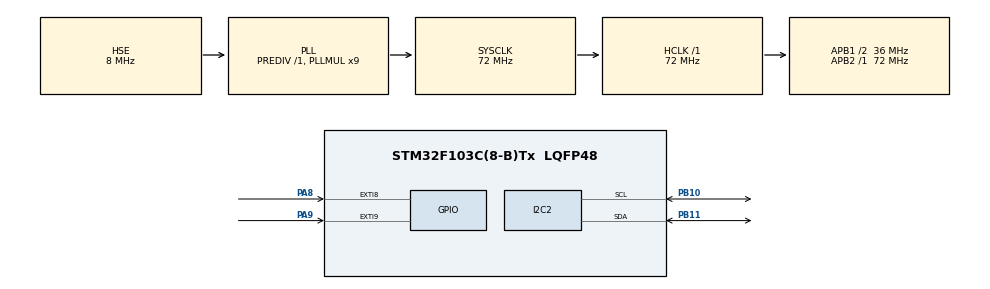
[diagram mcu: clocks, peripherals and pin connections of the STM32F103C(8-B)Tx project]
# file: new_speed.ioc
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I2C2.OwnAddress=20
Mcu.Family=STM32F1
Mcu.Name=STM32F103C(8-B)Tx
Mcu.Package=LQFP48
NVIC.EXTI9_5_IRQn=true\:0\:0\:false\:false\:true\:true\:true\:true
NVIC.I2C2_ER_IRQn=true\:0\:0\:false\:false\:true\:true\:true\:true
NVIC.I2C2_EV_IRQn=true\:0\:0\:false\:false\:true\:true\:true\:true
NVIC.PriorityGroup=NVIC_PRIORITYGROUP_4
NVIC.TIM1_BRK_IRQn=true\:0\:0\:false\:false\:true\:true\:true\:true
NVIC.TIM1_CC_IRQn=true\:0\:0\:false\:false\:true\:true\:true\:true
NVIC.TIM1_TRG_COM_IRQn=true\:0\:0\:false\:false\:true\:true\:true\:true
NVIC.TIM1_UP_IRQn=true\:0\:0\:false\:false\:true\:true\:true\:true
NVIC.TIM2_IRQn=true\:1\:0\:true\:false\:true\:true\:true\:true
PA13.Mode=Serial_Wire
PA13.Signal=SYS_JTMS-SWDIO
PA14.Mode=Serial_Wire
PA14.Signal=SYS_JTCK-SWCLK
PA8.GPIO_ModeDefaultEXTI=GPIO_MODE_IT_FALLING
PA8.GPIO_PuPd=GPIO_PULLUP
PA8.Signal=GPXTI8
PA9.GPIO_ModeDefaultEXTI=GPIO_MODE_IT_FALLING
PA9.GPIO_PuPd=GPIO_PULLUP
PA9.Signal=GPXTI9
PB10.Mode=I2C
PB10.Signal=I2C2_SCL
PB11.Mode=I2C
PB11.Signal=I2C2_SDA
PD0-OSC_IN.Mode=HSE-External-Oscillator
PD0-OSC_IN.Signal=RCC_OSC_IN
PD1-OSC_OUT.Mode=HSE-External-Oscillator
PD1-OSC_OUT.Signal=RCC_OSC_OUT
ProjectManager.HeapSize=0x200
ProjectManager.StackSize=0x400
ProjectManager.TargetToolchain=MDK-ARM V5.32
RCC.AHBFreq_Value=72000000
RCC.APB1CLKDivider=RCC_HCLK_DIV2
RCC.APB1Freq_Value=36000000
RCC.APB1TimFreq_Value=72000000
RCC.APB2Freq_Value=72000000
RCC.APB2TimFreq_Value=72000000
RCC.HCLKFreq_Value=72000000
RCC.PLLMUL=RCC_PLL_MUL9
RCC.PLLSourceVirtual=RCC_PLLSOURCE_HSE
RCC.SYSCLKFreq_VALUE=72000000
RCC.SYSCLKSource=RCC_SYSCLKSOURCE_PLLCLK
RCC.USBFreq_Value=72000000
TIM1.AutoReloadPreload=TIM_AUTORELOAD_PRELOAD_ENABLE
TIM1.Period=100-1
TIM1.Prescaler=72-1
TIM2.AutoReloadPreload=TIM_AUTORELOAD_PRELOAD_ENABLE
TIM2.Period=1000-1
TIM2.Prescaler=72-1
VP_TIM1_VS_ClockSourceINT.Mode=Internal
VP_TIM2_VS_ClockSourceINT.Mode=Internal
board=custom

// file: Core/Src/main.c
/* USER CODE BEGIN Header */
/**
  ******************************************************************************
  * @file           : main.c
  * @brief          : Main program body
  ******************************************************************************
  * @attention
  *
  * Copyright (c) 2023 STMicroelectronics.
  * All rights reserved.
  *
  * This software is licensed under terms that can be found in the LICENSE file
  * in the root directory of this software component.
  * If no LICENSE file comes with this software, it is provided AS-IS.
  *
  ******************************************************************************
  */
/* USER CODE END Header */
#include "main.h"
#include "i2c.h"
#include "tim.h"
#include "gpio.h"

/* USER CODE BEGIN Includes */
#include "oled.h"

/* USER CODE END Includes */

/* USER CODE BEGIN PTD */
#define right 0
#define left  1
/* USER CODE END PTD */

void SystemClock_Config(void);

/* USER CODE BEGIN 0 */
uint8_t I2C_recvBuf[10] = {0};
//uint8_t* I2C_sendBuf=NULL ;
uint8_t I2C_sendBuf[10]={0,1,2,3,4,5,6,7,8,9} ;

//static uint8_t I2C_recvBuf2[10]={0};
uint8_t rx_flag=0;
uint8_t position_x[3]={0,45,90};
uint8_t position_y[4]={0,12,24,36};

float average_speed;
float range_speed;
Bullets bullet[12];

uint8_t round_flag=0;
uint8_t shoot_flag=0;
uint8_t shoot_turns=0;
uint8_t last_shoot_turns=0;
uint8_t fly_bullets=0;
uint32_t fly_time=0;
// TEST
	float a=32,d=0;
	float c=0;
	uint8_t b[10]={0};
uint32_t floatAsInt=0;
/* USER CODE END 0 */

int main(void)
{

  /* MCU Configuration--------------------------------------------------------*/

  /* Reset of all peripherals, Initializes the Flash interface and the Systick. */
  HAL_Init();

  /* Configure the system clock */
  SystemClock_Config();

  /* Initialize all configured peripherals */
  MX_GPIO_Init();
  MX_I2C2_Init();
  MX_TIM1_Init();
  MX_TIM2_Init();
  /* USER CODE BEGIN 2 */
	HAL_TIM_Base_Start_IT(&htim1);
	HAL_TIM_Base_Start_IT(&htim2);
  HAL_I2C_EnableListen_IT(&hi2c2);
	OLED_Init();
	OLED_ColorTurn(0);//0正常显示，1 反色显示
  OLED_DisplayTurn(left);//0正常显示 1 屏幕翻转显示
  uint8_t* floatToBytes(float floatValue);
  float bytesToFloat(uint8_t *byteArray);

  /* USER CODE END 2 */

  /* Infinite loop */
  /* USER CODE BEGIN WHILE */
  while (1)
  {
	HAL_I2C_EnableListen_IT(&hi2c2);
  OLED_showspeed(range_speed,average_speed,bullet);

	floatAsInt = (uint32_t)(average_speed*100);

	I2C_sendBuf[0] = (floatAsInt >> 24) & 0xFF;
	I2C_sendBuf[1] = (floatAsInt >> 16) & 0xFF;
	I2C_sendBuf[2] = (floatAsInt >> 8) & 0xFF;
	I2C_sendBuf[3] = floatAsInt & 0xFF;

// TEST

//		floatAsInt = (uint32_t)(a*100);
//    b[0] = (floatAsInt >> 24) & 0xFF;
//    b[1] = (floatAsInt >> 16) & 0xFF;
//    b[2] = (floatAsInt >> 8) & 0xFF;
//    b[3] = floatAsInt & 0xFF;

//    // 将字节数组中的数据复制到int变量中（使用大端序列）
//    c = ((b[0] << 24) | (b[1] << 16) | (b[2] << 8) | b[3])/100.0f;

    /* USER CODE END WHILE */

  }
}

void SystemClock_Config(void)
{
  RCC_OscInitTypeDef RCC_OscInitStruct = {0};
  RCC_ClkInitTypeDef RCC_ClkInitStruct = {0};

  /** Initializes the RCC Oscillators according to the specified parameters
  * in the RCC_OscInitTypeDef structure.
  */
  RCC_OscInitStruct.OscillatorType = RCC_OSCILLATORTYPE_HSE;
  RCC_OscInitStruct.HSEState = RCC_HSE_ON;
  RCC_OscInitStruct.HSEPredivValue = RCC_HSE_PREDIV_DIV1;
  RCC_OscInitStruct.HSIState = RCC_HSI_ON;
  RCC_OscInitStruct.PLL.PLLState = RCC_PLL_ON;
  RCC_OscInitStruct.PLL.PLLSource = RCC_PLLSOURCE_HSE;
  RCC_OscInitStruct.PLL.PLLMUL = RCC_PLL_MUL9;
  if (HAL_RCC_OscConfig(&RCC_OscInitStruct) != HAL_OK)
  {
    Error_Handler();
  }

  /** Initializes the CPU, AHB and APB buses clocks
  */
  RCC_ClkInitStruct.ClockType = RCC_CLOCKTYPE_HCLK|RCC_CLOCKTYPE_SYSCLK
                              |RCC_CLOCKTYPE_PCLK1|RCC_CLOCKTYPE_PCLK2;
  RCC_ClkInitStruct.SYSCLKSource = RCC_SYSCLKSOURCE_PLLCLK;
  RCC_ClkInitStruct.AHBCLKDivider = RCC_SYSCLK_DIV1;
  RCC_ClkInitStruct.APB1CLKDivider = RCC_HCLK_DIV2;
  RCC_ClkInitStruct.APB2CLKDivider = RCC_HCLK_DIV1;

  if (HAL_RCC_ClockConfig(&RCC_ClkInitStruct, FLASH_LATENCY_2) != HAL_OK)
  {
    Error_Handler();
  }
}

/* USER CODE BEGIN 4 */
void shoot_data_clear(uint8_t shoot_turns,Bullets* bullets)  //??????
{
  if((shoot_turns==1)&&(round_flag))
  {
    round_flag=0;
    for(int i=1;i<bulletMax;i++)
    {
      bullets[i].shoot_speed=0;
      bullets[i].shoot_error_flag=0;
      bullets[i].start_time=0;
      bullets[i].end_time=0;
    }
  }
}

float cal_range_speed(uint8_t shoot_turns,Bullets* bullets)  //??????
{
  /*??????*/
  float range_speed=0;
  float max_speed=bullets[0].shoot_speed;
  float min_speed=bullets[0].shoot_speed;
  for(int i=0;i<shoot_turns;i++)
  {
    if(!bullets[i].shoot_error_flag)  //?????????
    {
      if(max_speed<bullets[i].shoot_speed) max_speed=bullets[i].shoot_speed;
      if(min_speed>bullets[i].shoot_speed) min_speed=bullets[i].shoot_speed;
    }
  }
  range_speed=max_speed-min_speed;
  return range_speed;
}

float cal_average_speed(uint8_t shoot_turns,Bullets* bullets)  //????????
{
  /*??????????*/
  float average_speed=0;
  float speed_sum=0;
  uint8_t shoot_error_turns=0;
  for(int i=0;i<shoot_turns;i++)
  {
    if(!bullets[i].shoot_error_flag) //?????????
      speed_sum+=bullets[i].shoot_speed;
    else
      shoot_error_turns++;
  }
  if(shoot_turns>shoot_error_turns) //????????
    average_speed=(float)speed_sum/(shoot_turns-shoot_error_turns);
  else
    average_speed=0;
  return average_speed;
}

//???????
void cal_shoot_speed(uint8_t shoot_turns,Bullets* bullets)
{
  for(int i=0;i<shoot_turns;i++)
  {
    float fly_time=bullets[i].end_time-bullets[i].start_time;
    if(bullets[i].end_time!=0)  //?????з?????
    {
      if((fly_time>=deadTime*1000)||(fly_time==0))   //0.2s
        bullets[i].shoot_error_flag=1;  //?????????
      else
        bullets[i].shoot_speed=(float)length/fly_time*100.0f;   // m/s
    }
  }
}

uint32_t get_time(void)
{
  return fly_time;
}

/*将float类型的数据拆成四个u8*/
uint8_t* floatToBytes(float floatValue) {

    static uint8_t byteArray[4];
    // 将float类型的数据转换为32位整数
    uint32_t intData = *((uint32_t*)&floatValue);

    // 将32位整数拆分成4个字节
    byteArray[0] = (uint8_t)(intData & 0xFF);
    byteArray[1] = (uint8_t)((intData >> 8) & 0xFF);
    byteArray[2] = (uint8_t)((intData >> 16) & 0xFF);
    byteArray[3] = (uint8_t)((intData >> 24) & 0xFF);

    return byteArray;
}

/*四个字节合并成一个float数据*/
float bytesToFloat(uint8_t *byteArray) {
    uint32_t intData = (uint32_t)byteArray[0] |
                      ((uint32_t)byteArray[1] << 8) |
                      ((uint32_t)byteArray[2] << 16) |
                      ((uint32_t)byteArray[3] << 24);

    return *((float*)&intData);
}

/**
  * @brief  ???ж???????
  * @param  GPIO_Pin: Specifies the pins connected EXTI line
  * @retval None
  */

void HAL_GPIO_EXTI_Callback(uint16_t GPIO_Pin)
{
  if(GPIO_Pin==GPIO_PIN_8) //???
  {
		if(!shoot_flag)
		{
			if(shoot_turns>=bulletMax)
			{
				shoot_turns=0;
				//round_flag=1; //一轮结束
			}
			bullet[shoot_turns].start_time=get_time();
			shoot_flag=1;
		}
  }
  else if(GPIO_Pin==GPIO_PIN_9) //???
  {
		if(shoot_flag)
	  {
			bullet[shoot_turns].end_time=get_time();
			shoot_turns++;
			shoot_flag=0;
		}
  }
}

/**
  * @brief  ??????ж???????
  * @param  None
  * @retval None
  */

void HAL_TIM_PeriodElapsedCallback(TIM_HandleTypeDef *htim)
{
	if(htim==&htim1) //?????1 0.01ms
  {
    fly_time++;
    if(fly_time>=1000000000) fly_time=0;
  }
	if(htim==&htim2) //?????2  1ms
	{
		//shoot_data_clear(shoot_turns,bullet); //????????
    cal_shoot_speed(shoot_turns,bullet); //???????
    average_speed=cal_average_speed(shoot_turns,bullet); //??????????
    range_speed=cal_range_speed(shoot_turns,bullet); //??????
		if(shoot_turns>=bulletMax)
		{
			//shoot_turns=0;
			round_flag=1; //一轮结束
		}
	}
}

void HAL_I2C_AddrCallback(I2C_HandleTypeDef *hi2c, uint8_t TransferDirection, uint16_t AddrMatchCode)
{
		rx_flag++;

  if(TransferDirection == I2C_DIRECTION_TRANSMIT)
  {
		HAL_I2C_Slave_Seq_Receive_IT(&hi2c2, I2C_recvBuf, sizeof(I2C_recvBuf), I2C_LAST_FRAME);
  }
  else if(TransferDirection == I2C_DIRECTION_RECEIVE)
  {
		HAL_I2C_Slave_Seq_Transmit_IT(&hi2c2, I2C_sendBuf, sizeof(I2C_sendBuf), I2C_LAST_FRAME);
  }
}
void HAL_I2C_SlaveTxCpltCallback(I2C_HandleTypeDef *hi2c)
{

}

void HAL_I2C_ErrorCallback(I2C_HandleTypeDef *hi2c)
{

		HAL_I2C_DeInit(hi2c);
		MX_I2C2_Init();

}

void HAL_I2C_SlaveRxCpltCallback(I2C_HandleTypeDef *hi2c)
{
}
/* USER CODE END 4 */

void Error_Handler(void)
{
  __disable_irq();
  while (1)
  {
  }
}
